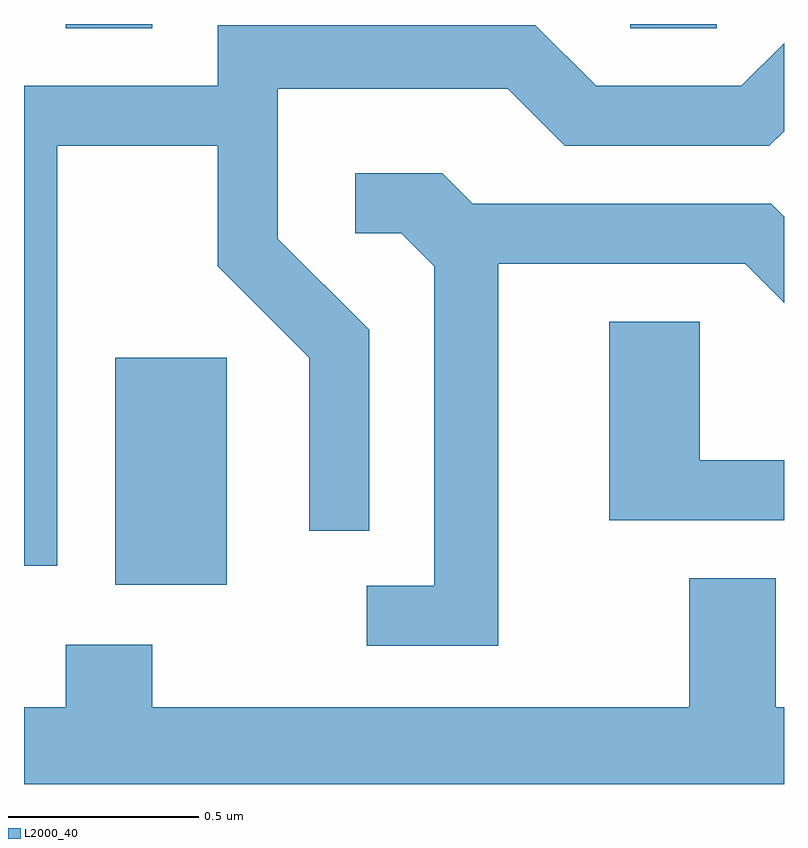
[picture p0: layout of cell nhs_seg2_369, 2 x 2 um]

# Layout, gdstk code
import gdstk
lib = gdstk.Library(unit=1e-6, precision=1e-09)
def R(c, l, rs):  # rectangles x0, y0, x1, y1
    for r in rs: c.add(gdstk.rectangle(r[:2], r[2:], *l))
def P(c, l, *ps):  # polygons
    for p in ps: c.add(gdstk.Polygon(p, *l))
L2000_40 = (2000, 40)

nhs_seg2_369 = lib.new_cell('nhs_seg2_369')
R(nhs_seg2_369, L2000_40, [(187.851,1073.326,188.144,1073.924), (187.721,1074.791,187.949,1074.802), (189.206,1074.791,189.434,1074.802)])
P(nhs_seg2_369, L2000_40, [(187.699,1074.481),(188.121,1074.481),(188.121,1074.164),(188.361,1073.924),(188.361,1073.468),(188.519,1073.468),(188.519,1073.997),(188.279,1074.237),(188.279,1074.631),(188.884,1074.631),(189.034,1074.481),(189.572,1074.481),(189.611,1074.52),(189.611,1074.751),(189.499,1074.639),(189.117,1074.639),(188.957,1074.799),(188.121,1074.799),(188.121,1074.639),(187.611,1074.639),(187.611,1073.376),(187.699,1073.376)],
  [(188.859,1074.171),(189.509,1074.171),(189.611,1074.069),(189.611,1074.295),(189.577,1074.329),(188.792,1074.329),(188.712,1074.409),(188.483,1074.409),(188.483,1074.251),(188.604,1074.251),(188.691,1074.164),(188.691,1073.324),(188.513,1073.324),(188.513,1073.166),(188.859,1073.166)],
  [(189.611,1073.654),(189.389,1073.654),(189.389,1074.019),(189.151,1074.019),(189.151,1073.496),(189.611,1073.496)],
  [(189.611,1073.004),(189.589,1073.004),(189.589,1073.344),(189.361,1073.344),(189.361,1073.004),(187.949,1073.004),(187.949,1073.169),(187.721,1073.169),(187.721,1073.004),(187.611,1073.004),(187.611,1072.802),(189.611,1072.802)])

lib.write_gds('nhs_seg2_369.gds')
